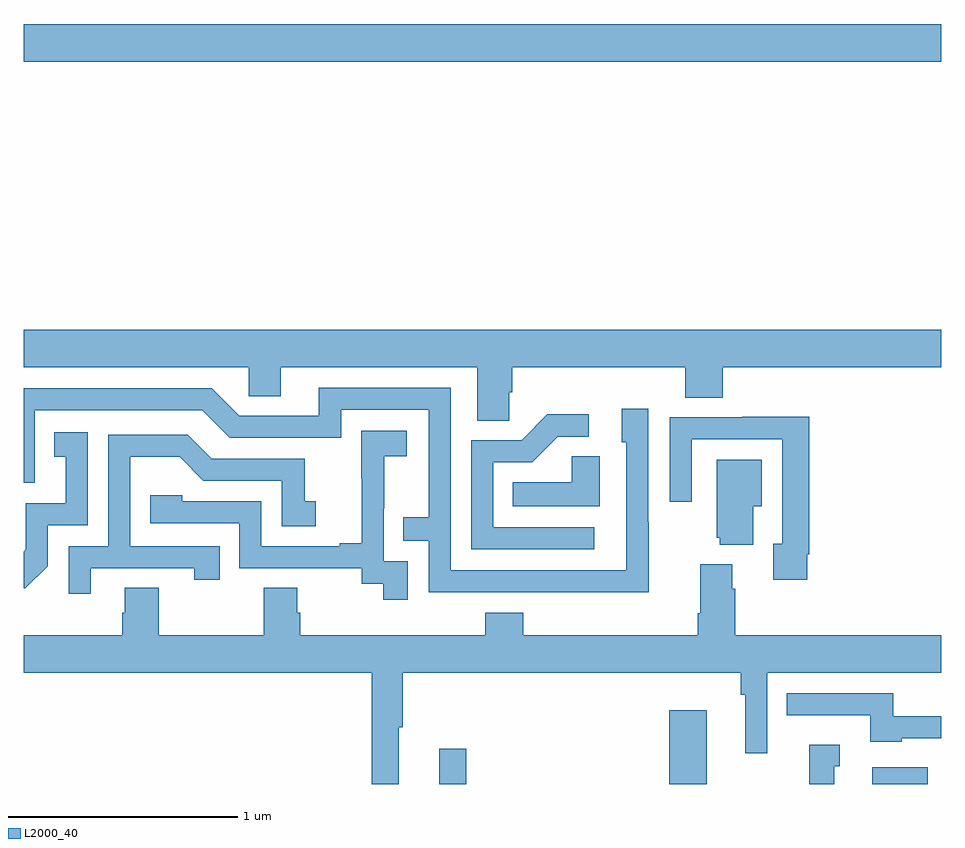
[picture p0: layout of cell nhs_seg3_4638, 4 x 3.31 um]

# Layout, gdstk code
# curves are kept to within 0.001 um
import gdstk
lib = gdstk.Library(unit=1e-6, precision=1e-09)
def R(c, l, rs):  # rectangles x0, y0, x1, y1
    for r in rs: c.add(gdstk.rectangle(r[:2], r[2:], *l))
def P(c, l, *ps):  # polygons
    for p in ps: c.add(gdstk.Polygon(p, *l))
L2000_40 = (2000, 40)

nhs_seg3_4638 = lib.new_cell('nhs_seg3_4638')
R(nhs_seg3_4638, L2000_40, [(360.812,732.4,360.929,732.553), (361.814,732.4,361.978,732.721), (362.699,732.4,362.941,732.472), (359,735.548,363,735.712)])
P(nhs_seg3_4638, L2000_40, [(361.116,734.107),(361.13,734.107),(361.13,734.216),(361.883,734.216),(361.883,734.083),(362.048,734.083),(362.048,734.216),(363,734.216),(363,734.38),(359,734.38),(359,734.216),(359.982,734.216),(359.982,734.089),(360.121,734.089),(360.121,734.216),(360.977,734.216),(360.977,733.984),(361.116,733.984)],
  [(361.725,733.541),(361.722,733.541),(361.722,734.035),(361.607,734.035),(361.607,733.89),(361.626,733.89),(361.626,733.332),(360.861,733.332),(360.861,734.127),(360.287,734.127),(360.287,734.004),(359.94,734.004),(359.82,734.124),(359,734.124),(359,733.713),(359.049,733.713),(359.049,734.028),(359.778,734.028),(359.898,733.908),(360.384,733.908),(360.384,734.031),(360.765,734.031),(360.765,733.562),(360.655,733.562),(360.655,733.461),(360.765,733.461),(360.765,733.236),(361.725,733.235)],
  [(361.486,733.518),(361.047,733.518),(361.047,733.803),(361.216,733.803),(361.327,733.914),(361.462,733.914),(361.462,734.012),(361.283,734.012),(361.17,733.899),(360.951,733.899),(360.951,733.422),(361.486,733.422)],
  [(362.416,733.402),(362.423,733.402),(362.423,734),(362.131,734),(362.131,733.998),(361.815,733.998),(361.815,733.629),(361.911,733.629),(361.911,733.902),(362.307,733.902),(362.307,733.446),(362.267,733.446),(362.267,733.29),(362.416,733.29)],
  [(360.675,733.371),(360.57,733.371),(360.57,733.601),(360.572,733.601),(360.572,733.829),(360.67,733.829),(360.67,733.939),(360.472,733.939),(360.472,733.733),(360.473,733.733),(360.473,733.45),(360.377,733.45),(360.377,733.437),(360.036,733.437),(360.036,733.632),(359.691,733.632),(359.691,733.659),(359.551,733.659),(359.551,733.536),(359.94,733.536),(359.94,733.341),(360.474,733.341),(360.474,733.273),(360.567,733.273),(360.567,733.203),(360.675,733.203)],
  [(359.106,733.35),(359.106,733.527),(359.28,733.527),(359.28,733.933),(359.134,733.933),(359.134,733.827),(359.183,733.827),(359.183,733.623),(359.01,733.623),(359.01,733.422),(359,733.412),(359,733.253),(359.008,733.253)],
  [(359.293,733.341),(359.744,733.341),(359.744,733.29),(359.855,733.29),(359.855,733.437),(359.466,733.437),(359.466,733.826),(359.68,733.826),(359.784,733.722),(360.126,733.722),(360.126,733.524),(360.274,733.524),(360.274,733.633),(360.225,733.633),(360.225,733.818),(359.821,733.818),(359.716,733.923),(359.37,733.923),(359.37,733.437),(359.196,733.437),(359.196,733.23),(359.293,733.23)],
  [(361.51,733.829),(361.389,733.829),(361.389,733.714),(361.132,733.714),(361.132,733.61),(361.51,733.61)],
  [(362.179,733.61),(362.218,733.61),(362.218,733.813),(362.021,733.813),(362.021,733.473),(362.033,733.473),(362.033,733.442),(362.179,733.442)],
  [(360.635,732.648),(360.653,732.648),(360.653,732.884),(362.125,732.884),(362.125,732.788),(362.144,732.788),(362.144,732.534),(362.241,732.534),(362.241,732.884),(363,732.884),(363,733.048),(362.102,733.048),(362.102,733.25),(362.089,733.25),(362.089,733.357),(361.949,733.357),(361.949,733.144),(361.937,733.144),(361.937,733.048),(361.178,733.048),(361.178,733.147),(361.013,733.147),(361.013,733.048),(360.206,733.048),(360.206,733.146),(360.193,733.146),(360.193,733.256),(360.046,733.256),(360.046,733.048),(359.589,733.048),(359.589,733.256),(359.441,733.256),(359.441,733.146),(359.429,733.146),(359.429,733.048),(359,733.048),(359,732.884),(360.517,732.884),(360.517,732.4),(360.635,732.4)],
  [(362.826,732.6),(363,732.6),(363,732.696),(362.79,732.696),(362.79,732.795),(362.326,732.795),(362.326,732.699),(362.69,732.699),(362.69,732.584),(362.826,732.584)],
  [(362.533,732.477),(362.557,732.477),(362.557,732.571),(362.424,732.571),(362.424,732.4),(362.533,732.4)])

lib.write_gds('nhs_seg3_4638.gds')
